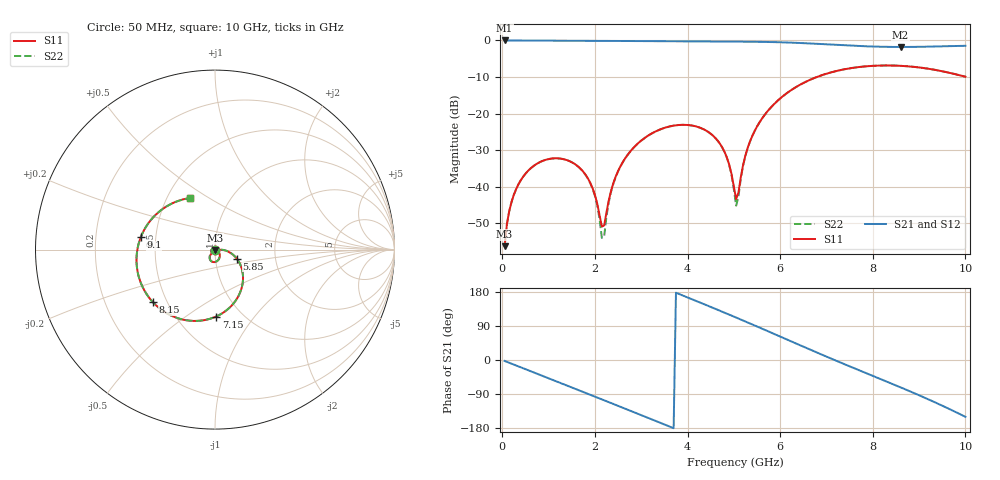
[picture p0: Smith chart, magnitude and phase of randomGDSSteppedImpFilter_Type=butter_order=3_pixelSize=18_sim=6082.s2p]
! freq	dB(S11)	phase(S11)	dB(S12)	phase(S12)
!  dB(S21)	phase(S21)	dB(S22)	phase(S22)
!S-par simulation data
#  GHz  S  DB  R 50
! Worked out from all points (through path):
!   200 points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, 50 MHz to 10 GHz, reference 50 ohm
!   highest |S21| = -0.01 dB at 50 MHz (marker M1); lowest = -1.8 dB at 8.6 GHz (marker M2)
!   group delay of S21, straight-line fit = 141 ps
!   lowest |S11| = -56.3 dB at 50 MHz (marker M3), VSWR 1.00, Z = 50 - j0.154 ohm
!   |S11| at or under -10 dB: start of sweep to 6.793 GHz
!   |S22| runs from -56.3 to -6.8 dB; largest |S21 - S12| = 0
!   S11 on the Smith chart (normalised r, x): 50 MHz: 1.00, -0.00; 5.85 GHz: 1.27, -0.13; 7.15 GHz: 0.76, -0.66; 8.15 GHz: 0.42, -0.31; 9.1 GHz: 0.41, +0.07; 10 GHz: 0.65, +0.42
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0.05  -56.27 -89.3  -0.01 -2.5  -0.01 -2.5  -56.28 -89.3
0.25  -42.21 -100.2  -0.02 -12.1  -0.02 -12.1  -42.21 -100.1
0.6  -35.13 -118.9  -0.04 -29.0  -0.04 -29.0  -35.14 -118.6
1.2  -32.25 -150.8  -0.07 -57.9  -0.07 -57.9  -32.27 -149.9
1.75  -35.94 177.8  -0.10 -84.5  -0.10 -84.5  -35.98 -179.8
2  -42.26 154.9  -0.11 -96.6  -0.11 -96.6  -42.52 161.1
2.15  -50.93 97.2  -0.12 -103.9  -0.12 -103.9  -54.03 106.5
2.35  -41.06 -5.3  -0.13 -113.6  -0.13 -113.6  -41.34 -12.4
2.55  -34.45 -24.4  -0.14 -123.4  -0.14 -123.4  -34.52 -28.2
3.4  -24.39 -71.4  -0.22 -165.1  -0.22 -165.1  -24.40 -73.0
4.6  -26.67 -127.5  -0.30 135.0  -0.30 135.0  -26.70 -129.4
4.9  -33.98 -131.4  -0.32 119.7  -0.32 119.7  -34.14 -135.4
5.05  -43.41 -80.0  -0.32 112.0  -0.32 112.0  -45.20 -83.2
5.35  -27.59 -2.6  -0.35 96.4  -0.35 96.4  -27.63 -1.2
5.85  -17.65 -22.6  -0.45 69.9  -0.45 69.9  -17.66 -22.4
6.7  -10.47 -65.9  -0.86 24.6  -0.86 24.6  -10.47 -66.0
7.15  -8.56 -89.0  -1.17 1.2  -1.17 1.2  -8.57 -89.1
8.15  -6.87 -139.5  -1.71 -49.4  -1.71 -49.4  -6.87 -139.7
8.35  -6.85 -149.7  -1.76 -59.5  -1.76 -59.5  -6.85 -149.9
8.6  -6.95 -162.6  -1.78 -72.2  -1.78 -72.2  -6.95 -162.8
9.1  -7.55 170.4  -1.72 -98.4  -1.72 -98.4  -7.55 170.4
10  -9.93 115.7  -1.47 -149.9  -1.47 -149.9  -9.92 116.2
